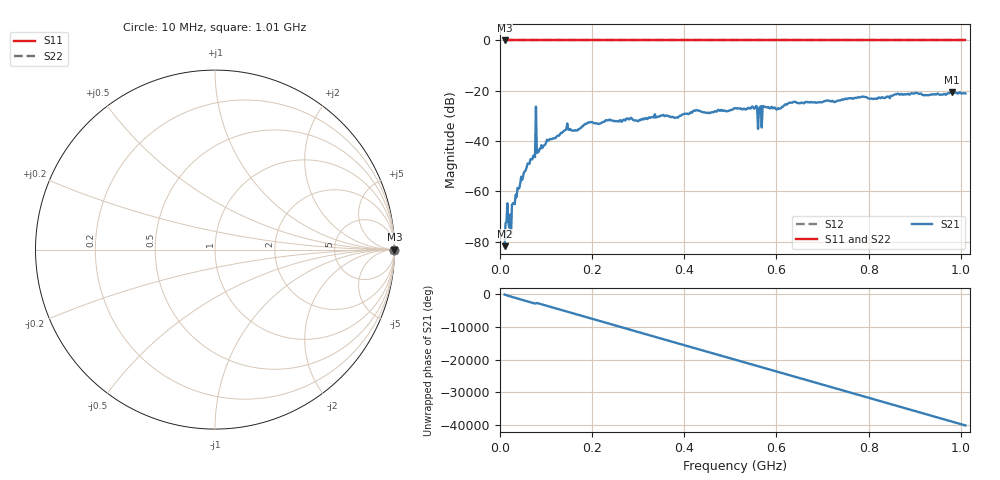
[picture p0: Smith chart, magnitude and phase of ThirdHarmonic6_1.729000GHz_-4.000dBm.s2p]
! 8/16/2025 8:49:17 PM
! C:\ANRITSUVNA\TEMP\TEMP.S2P
! CHANNEL.1
! TR.MEASUREMENT
! RAW.DATA
! RF.CORRECTION.OFF
! AVERAGING.OFF
! IF.BANDWIDTH: 5KHZ
! SWEEPTYPE:  FREQ.SWEEP(Linear)
! Reference Plane Port Info
! PORT:  PORT1  PORT2
! DISTANCE:  0  m  0  m
! TIME:  0  s  0  s
! PHASE.OFFSET:  0  deg.  0  deg.
! LOSS:  0  dB  0  dB
! REF.LOSS:  0  dB  0  dB
! REF.FREQ:  0  Hz  0  Hz
! Power Info
! POWER:  -20  dBm  -20  dBm
! EFF.POWER:  -20  dBm  -20  dBm
! SOURCE.ATTEN:  0  dB  0  dB
! TEST.ATTEN:  0  dB  0  dB
# GHZ S RI R 50.0
! FREQ.GHZ  S11RE  S11IM  S21RE  S21IM  S12RE  S12IM  S22RE  S22IM
!; PortSelection: Port_12
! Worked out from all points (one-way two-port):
!   501 points, 10 MHz to 1.01 GHz, reference 50 ohm
!   highest |S21| = -20.54 dB at 980 MHz (marker M1); lowest = -81.8 dB at 10 MHz (marker M2)
!   lowest |S11| = 0.0 dB at 10 MHz (marker M3)
!   |S11| at or under -10 dB: nowhere
!   |S22| runs from 0.0 to 0.0 dB; largest |S21 - S12| = 1.1
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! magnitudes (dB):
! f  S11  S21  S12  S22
! 10 MHz  0.0  -81.8  0.0  0.0
! 14 MHz  0.0  -72.1  0.0  0.0
! 18 MHz  0.0  -72.2  0.0  0.0
! 22 MHz  0.0  -69.3  0.0  0.0
! 30 MHz  0.0  -64.6  0.0  0.0
! 42 MHz  0.0  -58.7  0.0  0.0
! 72 MHz  0.0  -45.9  0.0  0.0
! 74 MHz  0.0  -45.7  0.0  0.0
! 76 MHz  0.0  -46.4  0.0  0.0
! 82 MHz  0.0  -44.5  0.0  0.0
! 84 MHz  0.0  -44.2  0.0  0.0
! 142 MHz  0.0  -35.6  0.0  0.0
! 178 MHz  0.0  -34.2  0.0  0.0
! 344 MHz  0.0  -30.4  0.0  0.0
! 510 MHz  0.0  -26.9  0.0  0.0
! 554 MHz  0.0  -26.6  0.0  0.0
! 564 MHz  0.0  -26.7  0.0  0.0
! 574 MHz  0.0  -26.4  0.0  0.0
! 678 MHz  0.0  -24.6  0.0  0.0
! 844 MHz  0.0  -22.4  0.0  0.0
! 980 MHz  0.0  -20.5  0.0  0.0
! 1.01 GHz  0.0  -21.1  0.0  0.0
